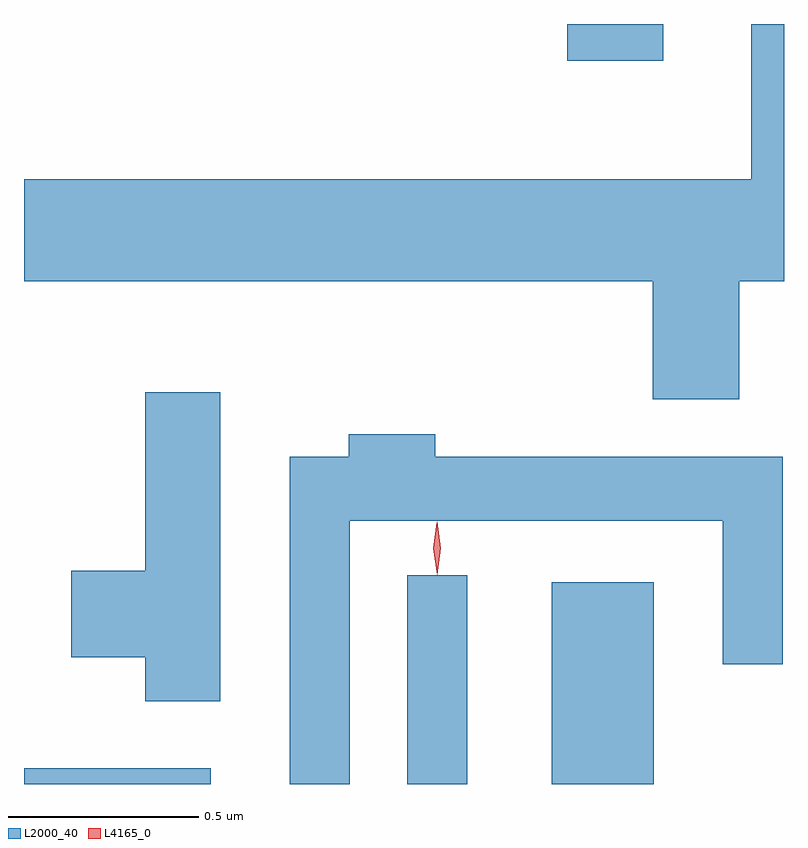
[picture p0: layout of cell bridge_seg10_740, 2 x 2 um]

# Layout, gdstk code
import gdstk
lib = gdstk.Library(unit=1e-6, precision=1e-09)
def R(c, l, rs):  # rectangles x0, y0, x1, y1
    for r in rs: c.add(gdstk.rectangle(r[:2], r[2:], *l))
def P(c, l, *ps):  # polygons
    for p in ps: c.add(gdstk.Polygon(p, *l))
L2000_40 = (2000, 40)
L4165_0 = (4165, 0)

bridge_seg10_740 = lib.new_cell('bridge_seg10_740')
R(bridge_seg10_740, L2000_40, [(1017.507,2105.933,1017.999,2105.974), (1018.516,2105.933,1018.674,2106.483), (1018.896,2105.933,1019.164,2106.464), (1018.936,2107.836,1019.189,2107.933)])
P(bridge_seg10_740, L2000_40, [(1019.389,2107.256),(1019.507,2107.256),(1019.507,2107.933),(1019.421,2107.933),(1019.421,2107.524),(1017.507,2107.524),(1017.507,2107.256),(1019.161,2107.256),(1019.161,2106.946),(1019.389,2106.946)],
  [(1018.024,2106.964),(1017.826,2106.964),(1017.826,2106.494),(1017.631,2106.494),(1017.631,2106.266),(1017.826,2106.266),(1017.826,2106.151),(1018.024,2106.151)],
  [(1018.364,2106.626),(1019.346,2106.626),(1019.346,2106.248),(1019.504,2106.248),(1019.504,2106.794),(1018.589,2106.794),(1018.589,2106.854),(1018.361,2106.854),(1018.361,2106.794),(1018.206,2106.794),(1018.206,2105.933),(1018.364,2105.933)])
P(bridge_seg10_740, L4165_0, [(1018.594,2106.487),(1018.594,2106.488),(1018.584,2106.554),(1018.593,2106.62),(1018.594,2106.62),(1018.594,2106.62),(1018.604,2106.554),(1018.594,2106.488)],
  [(1018.594,2106.484),(1018.594,2106.484),(1018.584,2106.553),(1018.594,2106.623),(1018.594,2106.623),(1018.595,2106.623),(1018.604,2106.553),(1018.595,2106.484)])

lib.write_gds('bridge_seg10_740.gds')
